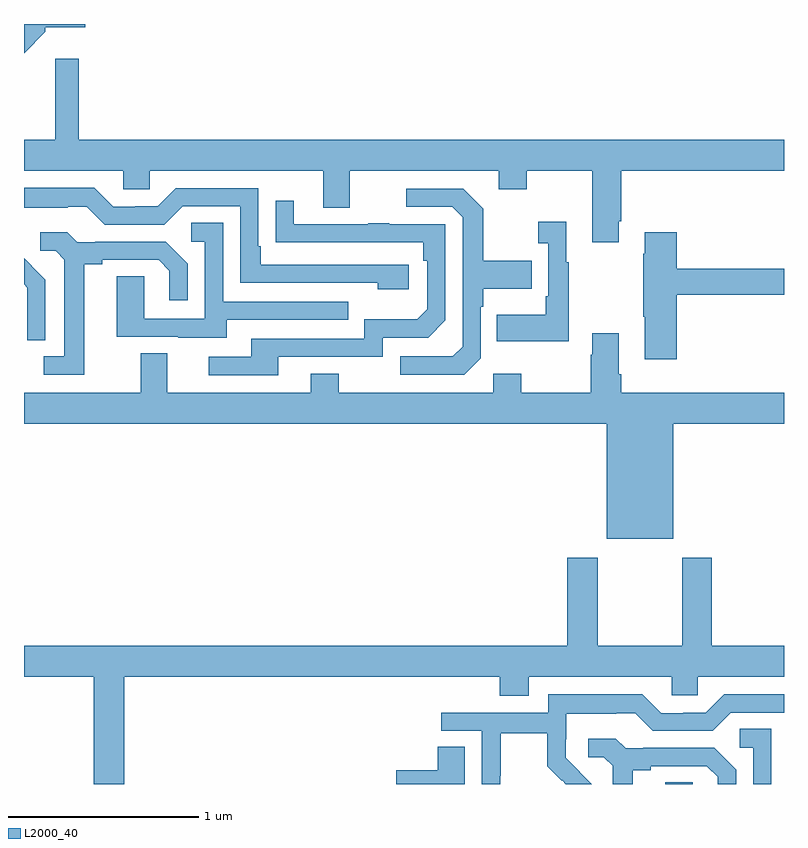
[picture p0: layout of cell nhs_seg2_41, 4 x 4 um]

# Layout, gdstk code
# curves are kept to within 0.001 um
import gdstk
lib = gdstk.Library(unit=1e-6, precision=1e-09)
def R(c, l, rs):  # rectangles x0, y0, x1, y1
    for r in rs: c.add(gdstk.rectangle(r[:2], r[2:], *l))
def P(c, l, *ps):  # polygons
    for p in ps: c.add(gdstk.Polygon(p, *l))
L2000_40 = (2000, 40)

nhs_seg2_41 = lib.new_cell('nhs_seg2_41')
R(nhs_seg2_41, L2000_40, [(116.375,585.8,116.52,585.809)])
P(nhs_seg2_41, L2000_40, [(113.111,589.758),(113.111,589.784),(113.323,589.784),(113.323,589.8),(113,589.8),(113,589.647)],
  [(116.131,588.763),(116.144,588.763),(116.144,589.028),(117,589.028),(117,589.192),(113.288,589.192),(113.288,589.618),(113.165,589.618),(113.165,589.192),(113,589.192),(113,589.028),(113.523,589.028),(113.523,588.93),(113.661,588.93),(113.661,589.028),(114.575,589.028),(114.575,588.834),(114.715,588.834),(114.715,589.028),(115.499,589.028),(115.499,588.929),(115.647,588.929),(115.647,589.028),(115.991,589.028),(115.991,588.651),(116.131,588.651)],
  [(115.024,588.534),(114.247,588.534),(114.247,588.631),(114.234,588.631),(114.234,588.936),(113.799,588.936),(113.703,588.84),(113.585,588.84),(113.585,588.837),(113.469,588.837),(113.369,588.937),(113,588.937),(113,588.833),(113.231,588.833),(113.231,588.837),(113.331,588.837),(113.424,588.744),(113.739,588.744),(113.835,588.84),(114.138,588.84),(114.138,588.438),(114.863,588.438),(114.863,588.404),(115.024,588.404)],
  [(115.404,588.042),(115.404,588.311),(115.417,588.311),(115.417,588.407),(115.673,588.407),(115.673,588.555),(115.417,588.555),(115.417,588.827),(115.311,588.933),(115.011,588.933),(115.011,588.837),(115.254,588.837),(115.308,588.783),(115.308,588.102),(115.257,588.051),(114.981,588.051),(114.981,587.955),(115.317,587.955)],
  [(114.337,588.048),(114.888,588.048),(114.888,588.15),(115.128,588.15),(115.218,588.24),(115.218,588.747),(114.923,588.747),(114.923,588.752),(114.811,588.752),(114.811,588.747),(114.421,588.747),(114.421,588.871),(114.325,588.871),(114.325,588.652),(115.102,588.651),(115.102,588.554),(115.122,588.554),(115.122,588.3),(115.069,588.247),(114.792,588.247),(114.792,588.144),(114.197,588.144),(114.197,588.048),(113.973,588.048),(113.973,587.952),(114.337,587.952)],
  [(115.867,588.547),(115.855,588.547),(115.855,588.76),(115.707,588.76),(115.707,588.647),(115.758,588.647),(115.758,588.367),(115.746,588.367),(115.746,588.271),(115.489,588.271),(115.489,588.131),(115.867,588.131)],
  [(114.067,588.243),(114.707,588.243),(114.707,588.339),(114.048,588.339),(114.048,588.755),(113.88,588.755),(113.88,588.654),(113.952,588.654),(113.952,588.249),(113.634,588.249),(113.634,588.473),(113.489,588.473),(113.489,588.153),(113.813,588.153),(113.813,588.149),(114.067,588.149)],
  [(116.435,588.376),(117,588.376),(117,588.512),(116.435,588.512),(116.435,588.703),(116.267,588.703),(116.267,588.59),(116.26,588.59),(116.26,588.259),(116.267,588.259),(116.267,588.036),(116.435,588.036)],
  [(113.317,588.536),(113.413,588.536),(113.413,588.558),(113.708,588.558),(113.765,588.501),(113.765,588.345),(113.862,588.345),(113.862,588.538),(113.746,588.654),(113.374,588.654),(113.374,588.651),(113.28,588.651),(113.228,588.703),(113.085,588.703),(113.085,588.606),(113.166,588.606),(113.213,588.559),(113.213,588.051),(113.103,588.051),(113.103,587.955),(113.317,587.955)],
  [(113.112,588.454),(113.039,588.527),(113.04,588.528),(113,588.568),(113,588.431),(113.018,588.413),(113.018,588.29),(113.016,588.29),(113.016,588.136),(113.112,588.136)],
  [(116.416,587.696),(117,587.696),(117,587.86),(116.144,587.86),(116.144,587.956),(116.131,587.956),(116.131,588.172),(115.991,588.172),(115.991,588.059),(115.984,588.059),(115.984,587.86),(115.617,587.86),(115.617,587.959),(115.47,587.959),(115.47,587.86),(114.657,587.86),(114.657,587.959),(114.509,587.959),(114.509,587.86),(113.755,587.86),(113.755,588.068),(113.615,588.068),(113.615,587.86),(113,587.86),(113,587.696),(116.066,587.696),(116.066,587.09),(116.416,587.09)],
  [(113.528,586.364),(115.505,586.364),(115.505,586.265),(115.657,586.265),(115.657,586.364),(116.409,586.364),(116.409,586.266),(116.547,586.266),(116.547,586.364),(117,586.364),(117,586.528),(116.619,586.528),(116.619,586.99),(116.464,586.99),(116.464,586.528),(116.019,586.528),(116.019,586.99),(115.859,586.99),(115.859,586.528),(113,586.528),(113,586.364),(113.368,586.364),(113.368,585.8),(113.528,585.8)],
  [(115.506,585.844),(115.509,585.844),(115.509,586.068),(115.753,586.068),(115.753,585.893),(115.83,585.816),(115.833,585.819),(115.852,585.8),(115.988,585.8),(115.852,585.938),(115.852,586.035),(115.854,586.035),(115.854,586.169),(116.117,586.169),(116.117,586.173),(116.217,586.173),(116.31,586.08),(116.625,586.08),(116.721,586.176),(117,586.176),(117,586.272),(116.685,586.272),(116.589,586.176),(116.471,586.176),(116.471,586.173),(116.355,586.173),(116.255,586.273),(115.758,586.273),(115.758,586.176),(115.197,586.176),(115.197,586.08),(115.41,586.08),(115.41,585.8),(115.506,585.8)],
  [(116.934,586.091),(116.766,586.091),(116.766,585.99),(116.838,585.99),(116.838,585.8),(116.934,585.8)],
  [(116.203,585.872),(116.299,585.872),(116.299,585.894),(116.594,585.894),(116.651,585.837),(116.651,585.8),(116.748,585.8),(116.748,585.874),(116.632,585.99),(116.26,585.99),(116.26,585.987),(116.166,585.987),(116.114,586.039),(115.971,586.039),(115.971,585.942),(116.052,585.942),(116.099,585.895),(116.099,585.8),(116.203,585.8)],
  [(115.321,585.995),(115.178,585.995),(115.178,585.872),(114.96,585.872),(114.96,585.8),(115.321,585.8)])

lib.write_gds('nhs_seg2_41.gds')
